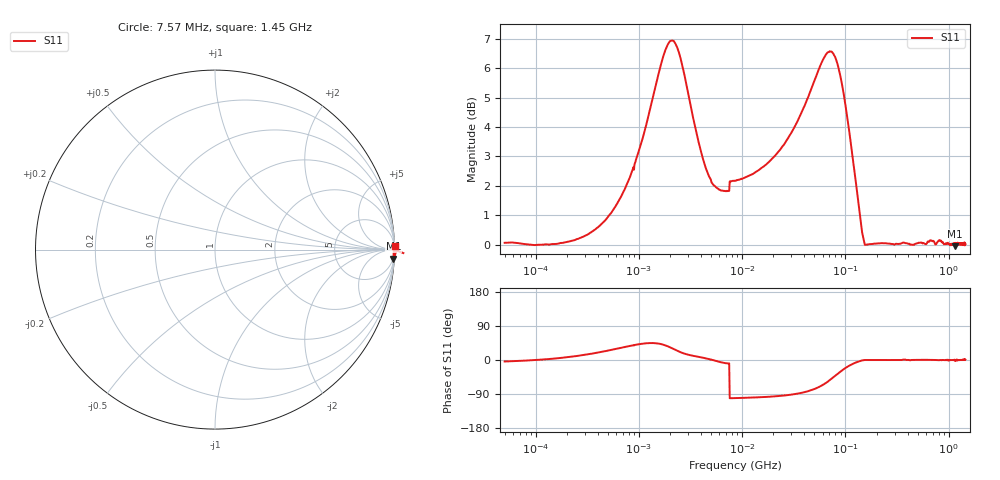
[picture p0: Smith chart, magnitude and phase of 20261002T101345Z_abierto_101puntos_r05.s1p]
! piloto_saltos / abierto_101puntos / r05
# HZ S RI R 50
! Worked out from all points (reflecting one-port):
!   501 points, 50 kHz to 1.45 GHz, reference 50 ohm
!   lowest |S11| = 0.0 dB at 1.153 GHz (marker M1), VSWR 405.92, Z = 190 - j1.95e+03 ohm
!   phase of S11 starts at -4 deg and turns +5 deg over the sweep
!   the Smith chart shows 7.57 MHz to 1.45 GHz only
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50000  1.006 -0.0697
183000  1.002 0.1068
363500  1.009 0.3187
658000  1.021 0.6301
1180000  1.149 1.115
1630000  1.498 1.355
1990000  1.841 1.232
2440000  1.961 0.804
3340000  1.615 0.3159
4690000  1.314 0.0699
7300000  1.219 -0.1927
7750000  -0.2407 -1.259
8560000  -0.2354 -1.263
1.81e7  -0.1693 -1.372
3.16e7  -0.0115 -1.576
4.69e7  0.3399 -1.812
5.68e7  0.6978 -1.887
6.49e7  1.045 -1.829
7.39e7  1.4 -1.6
8.65e7  1.651 -1.098
9.82e7  1.626 -0.6736
1e8  1.611 -0.6194
1.18e8  1.377 -0.2437
1.36e8  1.148 -0.0687
1.63e8  1.002 -0.000218
4.06e8  1.004 0.00288
1.153e9  0.9938 -0.0504
1.45e9  1.003 0.0173
